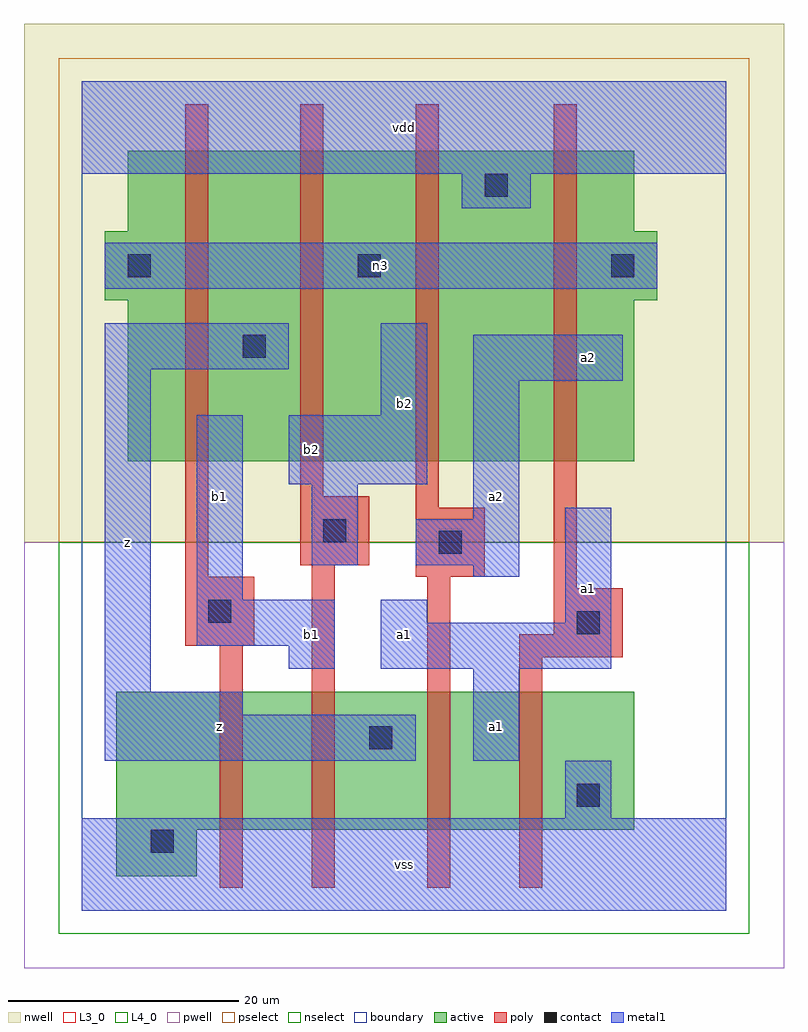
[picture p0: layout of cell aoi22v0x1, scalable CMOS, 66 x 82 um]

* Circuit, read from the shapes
.subckt aoi22v0x1 a1 a2 b1 b2 n3 vdd vss z
M1 n1 b1 vss VSUBS nfet w=12u l=2u
M2 z b2 n1 VSUBS nfet w=12u l=2u
M3 n2 a2 z VSUBS nfet w=12u l=2u
M4 vss a1 n2 VSUBS nfet w=12u l=2u
M5 z b1 n3 n4 pfet w=27u l=2u
M6 n3 b2 z n4 pfet w=27u l=2u
M7 vdd a2 n3 n4 pfet w=27u l=2u
M8 n3 a1 vdd n4 pfet w=27u l=2u
.ends

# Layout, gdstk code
import gdstk
lib = gdstk.Library(unit=1e-6, precision=1e-09)
def R(c, l, rs):  # rectangles x0, y0, x1, y1
    for r in rs: c.add(gdstk.rectangle(r[:2], r[2:], *l))
L3_0 = (3, 0)
L4_0 = (4, 0)
contact = (25, 0)
pwell = (41, 0)
nwell = (42, 0)
active = (43, 0)
pselect = (44, 0)
nselect = (45, 0)
poly = (46, 0)
metal1 = (49, 0)
boundary = (63, 0)

aoi22v0x1 = lib.new_cell('aoi22v0x1')
R(aoi22v0x1, L3_0, [(3,3,10,7), (3,7,48,19)])
R(aoi22v0x1, L4_0, [(4,39,48,53), (2,53,50,59), (4,59,48,66)])
R(aoi22v0x1, contact, [(6,5,8,7), (43,9,45,11), (25,14,27,16), (43,24,45,26), (11,25,13,27), (31,31,33,33), (21,32,23,34), (14,48,16,50), (4,55,6,57), (24,55,26,57), (46,55,48,57), (35,62,37,64)])
R(aoi22v0x1, pwell, [(-5,-5,61,32)])
R(aoi22v0x1, nwell, [(-5,32,61,77)])
R(aoi22v0x1, active, [(3,3,10,7), (3,7,48,19), (4,39,48,53), (2,53,50,59), (4,59,48,66)])
R(aoi22v0x1, pselect, [(-2,32,58,74)])
R(aoi22v0x1, nselect, [(-2,-2,58,32)])
R(aoi22v0x1, poly, [(12,2,14,23), (20,2,22,30), (30,2,32,29), (38,2,40,22), (38,22,47,24), (9,23,15,29), (41,24,47,28), (41,28,43,70), (9,29,11,70), (29,29,35,35), (19,30,25,36), (29,35,31,70), (19,36,21,70)])
R(aoi22v0x1, metal1, [(0,0,56,8), (42,8,46,13), (2,13,29,17), (34,13,38,21), (2,17,14,19), (2,19,6,47), (18,21,22,23), (26,21,46,25), (10,23,22,27), (26,25,30,27), (42,25,46,35), (10,27,14,43), (34,29,38,30), (20,30,24,37), (29,30,38,34), (34,34,38,46), (18,37,30,43), (26,43,30,51), (34,46,47,50), (2,47,18,51), (2,54,50,58), (33,61,39,64), (0,64,56,72)])
R(aoi22v0x1, boundary, [(0,0,56,72)])
aoi22v0x1.add(gdstk.Label('n3', (26,56), layer=49, texttype=0))
aoi22v0x1.add(gdstk.Label('z', (4,32), layer=49, texttype=0))
aoi22v0x1.add(gdstk.Label('z', (12,16), layer=49, texttype=0))
aoi22v0x1.add(gdstk.Label('b1', (20,24), layer=49, texttype=0))
aoi22v0x1.add(gdstk.Label('b2', (20,40), layer=49, texttype=0))
aoi22v0x1.add(gdstk.Label('b1', (12,36), layer=49, texttype=0))
aoi22v0x1.add(gdstk.Label('vss', (28,4), layer=49, texttype=0))
aoi22v0x1.add(gdstk.Label('a1', (36,16), layer=49, texttype=0))
aoi22v0x1.add(gdstk.Label('a1', (28,24), layer=49, texttype=0))
aoi22v0x1.add(gdstk.Label('a2', (36,36), layer=49, texttype=0))
aoi22v0x1.add(gdstk.Label('b2', (28,44), layer=49, texttype=0))
aoi22v0x1.add(gdstk.Label('vdd', (28,68), layer=49, texttype=0))
aoi22v0x1.add(gdstk.Label('a1', (44,28), layer=49, texttype=0))
aoi22v0x1.add(gdstk.Label('a2', (44,48), layer=49, texttype=0))

lib.write_gds('aoi22v0x1.gds')
